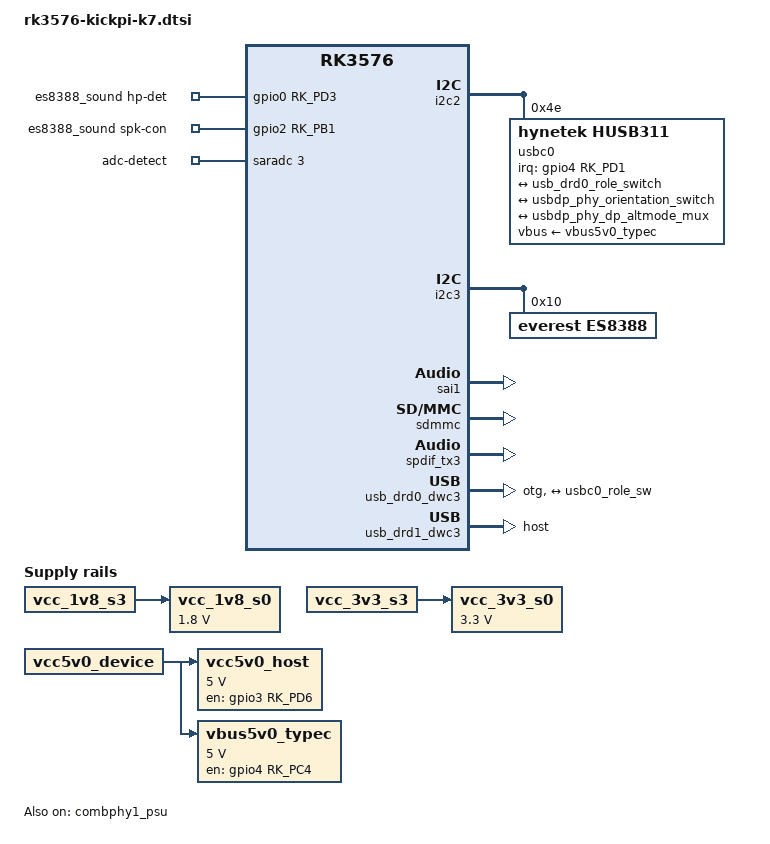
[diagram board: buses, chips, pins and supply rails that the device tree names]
// SPDX-License-Identifier: (GPL-2.0+ OR MIT)
/*
 * Copyright (c) 2024 Rockchip Electronics Co., Ltd.
 *
 */

#include <dt-bindings/usb/pd.h>


#include "rk3576.dtsi"
#include "rk3576-kickpi-evb.dtsi"
#include "rk3576-rk806.dtsi"

#include "rk3576-kickpi-lcd-hdmi.dtsi"
// #include "rk3576-kickpi-lcd-mipi-8-800-1280-MX080B2140.dtsi"
// #include "rk3576-kickpi-lcd-mipi-10.1-800-1280-AT101DS40I.dtsi"
// #include "rk3576-kickpi-lcd-mipi-10.1-800-1280-MX101BA1340.dtsi"
// #include "rk3576-kickpi-lcd-mipi-5-720-1280-F050008M01.dtsi"
#include "rk3576-kickpi-lcd-dp.dtsi"
 
#include "rk3576-kickpi-k7-wifi.dtsi"
#include "rk3576-kickpi-ethernet-gmac0.dtsi"
#include "rk3576-kickpi-ethernet-gmac1.dtsi"
#include "rk3576-kickpi-combopyh0-pcie.dtsi"

#include "rk3576-kickpi-k7-extend-40pin.dtsi"
#include "rk3576-kickpi-ir.dtsi"

#include "rk3576-kickpi-k7-cam0.dtsi"
#include "rk3576-kickpi-k7-cam1.dtsi"
#include "rk3576-kickpi-k7-cam3.dtsi"

/ {
	es8388_sound: es8388-sound {
		status = "okay";
		compatible = "rockchip,multicodecs-card";
		rockchip,card-name = "rockchip-es8388";
		hp-det-gpio = <&gpio0 RK_PD3 GPIO_ACTIVE_HIGH>;
		io-channels = <&saradc 3>;
		io-channel-names = "adc-detect";
		keyup-threshold-microvolt = <1800000>;
		poll-interval = <100>;
		spk-con-gpio = <&gpio2 RK_PB1 GPIO_ACTIVE_HIGH>;
		//hp-con-gpio = <&gpio0 RK_PD3 GPIO_ACTIVE_HIGH>;
		rockchip,pre-power-on-delay-ms = <30>;
		rockchip,post-power-down-delay-ms = <40>;
		rockchip,format = "i2s";
		rockchip,mclk-fs = <256>;
		rockchip,cpu = <&sai1>;
		rockchip,codec = <&es8388>;
		rockchip,audio-routing =
			"Headphone", "LOUT1",
			"Headphone", "ROUT1",
			"Speaker", "LOUT2",
			"Speaker", "ROUT2",
			//"Headphone", "Headphone Power",
			//"Headphone", "Headphone Power",
			"Speaker", "Speaker Power",
			"Speaker", "Speaker Power",
			"LINPUT1", "Main Mic",
			"LINPUT2", "Main Mic",
			"RINPUT1", "Headset Mic",
			"RINPUT2", "Headset Mic";
		pinctrl-names = "default";
		pinctrl-0 = <&hp_det>;
		play-pause-key {
			label = "playpause";
			linux,code = <KEY_PLAYPAUSE>;
			press-threshold-microvolt = <2000>;
		};
	};

	pdmics: dummy-codec {
		status = "disabled";
		compatible = "rockchip,dummy-codec";
		#sound-dai-cells = <0>;
	};

	pdm_mic_array: pdm-mic-array {
		status = "disabled";
		compatible = "simple-audio-card";
		simple-audio-card,name = "rockchip,pdm-mic-array";
		simple-audio-card,cpu {
			sound-dai = <&pdm1>;
		};
		simple-audio-card,codec {
			sound-dai = <&pdmics>;
		};
	};

	vcc_1v8_s0: vcc-1v8-s0 {
		compatible = "regulator-fixed";
		regulator-name = "vcc_1v8_s0";
		regulator-boot-on;
		regulator-always-on;
		regulator-min-microvolt = <1800000>;
		regulator-max-microvolt = <1800000>;
		vin-supply = <&vcc_1v8_s3>;
	};

	vcc_3v3_s0: vcc-3v3-s0 {
		compatible = "regulator-fixed";
		regulator-name = "vcc_3v3_s0";
		regulator-boot-on;
		regulator-always-on;
		regulator-min-microvolt = <3300000>;
		regulator-max-microvolt = <3300000>;
		vin-supply = <&vcc_3v3_s3>;
	};

	vcc5v0_host: vcc5v0-host {
		compatible = "regulator-fixed";
		regulator-name = "vcc5v0_host";
		regulator-boot-on;
		regulator-always-on;
		regulator-min-microvolt = <5000000>;
		regulator-max-microvolt = <5000000>;
		enable-active-high;
		gpio = <&gpio3 RK_PD6 GPIO_ACTIVE_HIGH>;
		vin-supply = <&vcc5v0_device>;
		pinctrl-names = "default";
		pinctrl-0 = <&usb_host_pwren>;
	};

	vbus5v0_typec: vbus5v0-typec {
		compatible = "regulator-fixed";
		regulator-name = "vbus5v0_typec";
		regulator-min-microvolt = <5000000>;
		regulator-max-microvolt = <5000000>;
		enable-active-high;
		gpio = <&gpio4 RK_PC4 GPIO_ACTIVE_HIGH>;
		vin-supply = <&vcc5v0_device>;
		pinctrl-names = "default";
		pinctrl-0 = <&usb_otg0_pwren>;
	};
};

&combphy1_psu {
	status = "okay";
};

&i2c2 {
	status = "okay";

	usbc0: husb311@4e {
		compatible = "hynetek,husb311";
		reg = <0x4e>;
		interrupt-parent = <&gpio4>;
		interrupts = <RK_PD1 IRQ_TYPE_LEVEL_LOW>;
		pinctrl-names = "default";
		pinctrl-0 = <&usbc0_int>;
		vbus-supply = <&vbus5v0_typec>;
		status = "okay";

		port {
			usbc0_role_sw: endpoint {
				remote-endpoint = <&usb_drd0_role_switch>;
			};
		};

		usb_con: connector {
			compatible = "usb-c-connector";
			label = "USB-C";
			data-role = "dual";
			power-role = "dual";
			try-power-role = "sink";
			op-sink-microwatt = <1000000>;
			sink-pdos =
				<PDO_FIXED(5000, 1000, PDO_FIXED_USB_COMM)>;
			source-pdos =
				<PDO_FIXED(5000, 3000, PDO_FIXED_USB_COMM)>;

			altmodes {
				#address-cells = <1>;
				#size-cells = <0>;

				altmode@0 {
					reg = <0>;
					svid = <0xff01>;
					vdo = <0xffffffff>;
				};
			};

			ports {
				#address-cells = <1>;
				#size-cells = <0>;

				port@0 {
					reg = <0>;
					usbc0_orien_sw: endpoint {
						remote-endpoint = <&usbdp_phy_orientation_switch>;
					};
				};

				port@1 {
					reg = <1>;
					dp_altmode_mux: endpoint {
						remote-endpoint = <&usbdp_phy_dp_altmode_mux>;
					};
				};
			};
		};
	};
};

&i2c3 {
	status = "okay";
	es8388: es8388@10 {
		status = "okay";
		#sound-dai-cells = <0>;
		compatible = "everest,es8388", "everest,es8323";
		reg = <0x10>;
		clocks = <&mclkout_sai1>;
		clock-names = "mclk";
		assigned-clocks = <&mclkout_sai1>;
		assigned-clock-rates = <12288000>;
		pinctrl-names = "default";
		pinctrl-0 = <&sai1m0_mclk>;
	};
};

&pinctrl {
	headphone {
		hp_det: hp-det {
			rockchip,pins = <0 RK_PD3 RK_FUNC_GPIO &pcfg_pull_none>;
		};
	};

	usb {
		usb_host_pwren: usb-host-pwren {
			rockchip,pins = <3 RK_PD6 RK_FUNC_GPIO &pcfg_pull_none>;
		};

		usb_otg0_pwren: usb-otg0-pwren {
			rockchip,pins = <4 RK_PC4 RK_FUNC_GPIO &pcfg_pull_none>;
		};

		usbc0_int: usbc0-int {
			rockchip,pins = <4 RK_PD1 RK_FUNC_GPIO &pcfg_pull_up>;
		};
	};
};


&sai1 {
	status = "okay";
	pinctrl-names = "default";
	pinctrl-0 = <&sai1m0_lrck
		     &sai1m0_sclk
		     &sai1m0_sdi0
		     &sai1m0_sdo0>;
};


&sdmmc {
	supports-emmc;
	pinctrl-0 = <&sdmmc0_clk &sdmmc0_cmd &sdmmc0_det &sdmmc0_bus4 &sdmmc0_pwren>;
	status = "okay";
};

&spdif_tx3 {
	status = "okay";
};

&u2phy0_otg {
	rockchip,typec-vbus-det;
};

&u2phy1_otg {
	phy-supply = <&vcc5v0_host>;
};

&usbdp_phy {
	orientation-switch;
	svid = <0xff01>;
	sbu1-dc-gpios = <&gpio2 RK_PA6 GPIO_ACTIVE_HIGH>;
	sbu2-dc-gpios = <&gpio2 RK_PA7 GPIO_ACTIVE_HIGH>;

	port {
		#address-cells = <1>;
		#size-cells = <0>;

		usbdp_phy_orientation_switch: endpoint@0 {
			reg = <0>;
			remote-endpoint = <&usbc0_orien_sw>;
		};

		usbdp_phy_dp_altmode_mux: endpoint@1 {
			reg = <1>;
			remote-endpoint = <&dp_altmode_mux>;
		};
	};
};

&usb_drd0_dwc3 {
	dr_mode = "otg";
	usb-role-switch;
	port {
		usb_drd0_role_switch: endpoint {
			remote-endpoint = <&usbc0_role_sw>;
		};
	};
};

&usb_drd1_dwc3 {
	dr_mode = "host";
	status = "okay";
};

